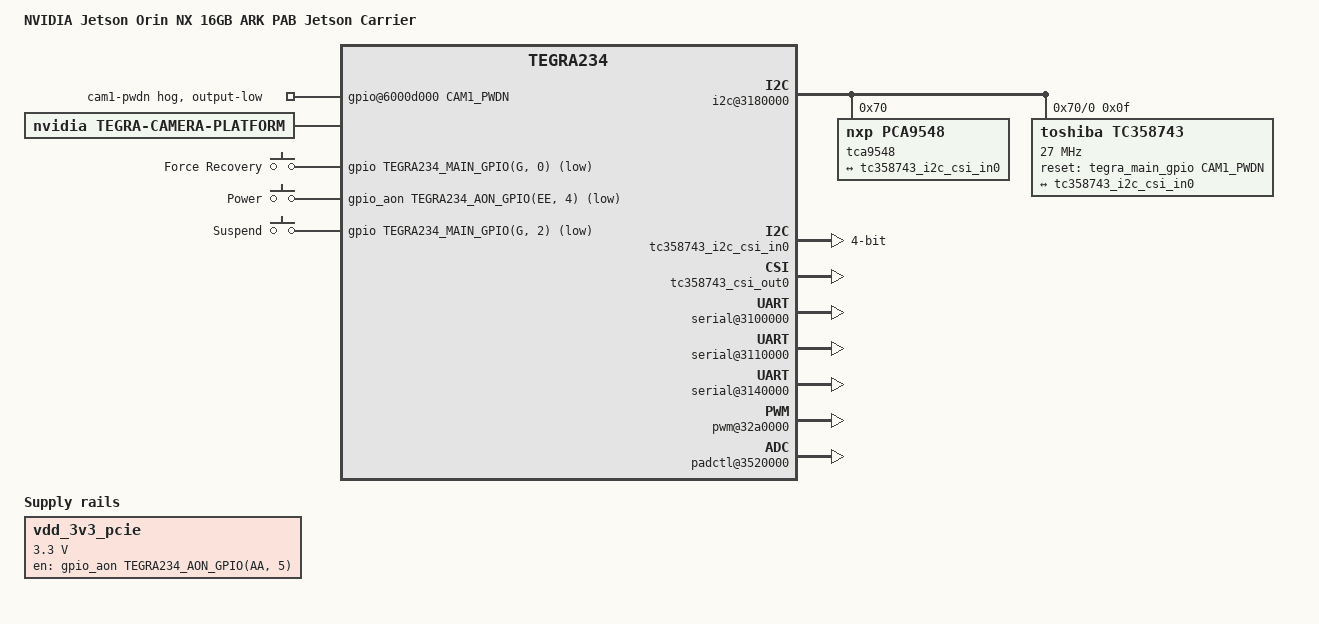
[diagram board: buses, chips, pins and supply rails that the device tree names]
// SPDX-License-Identifier: GPL-2.0
/dts-v1/;

#include <dt-bindings/input/linux-event-codes.h>
#include <dt-bindings/input/gpio-keys.h>

#include "tegra234-p3767-0000.dtsi"
#include "tegra234-p3768-0000.dtsi"

#define CAMERA_I2C_MUX_BUS(x) (0x1E + x)
#define CAM1_PWDN	TEGRA234_MAIN_GPIO(H, 6)

/ {
	compatible = "nvidia,p3768-0000+p3767-0000", "nvidia,p3767-0000", "nvidia,tegra234";
	model = "NVIDIA Jetson Orin NX 16GB ARK PAB Jetson Carrier";

	aliases {
		serial1 = &uarta;
		serial2 = &uarte;
		serial3 = &uartb;
	};

  i2c@3180000 {
    tca9548@70 {
      compatible = "nxp,pca9548";
      reg = <0x70>;
      skip_mux_detect;
      force_bus_start = <CAMERA_I2C_MUX_BUS(0)>;
      status = "okay";
      #address-cells = <1>;
      #size-cells = <0>;

      i2c@0 {
        reg = <0>;
        i2c-mux,deselect-on-exit;
        #address-cells = <1>;
        #size-cells = <0>;
      };
    };
  };

  gpio@6000d000 {
    camera-control-output-low {
      gpio-hog;
      output-low;
      gpios = <CAM1_PWDN 0>;
      label = "cam1-pwdn";
    };
  };

  tegra-capture-vi {
    num-channels = <1>;

    ports {
      #address-cells = <1>;
      #size-cells = <0>;

      port@0{
        status = "okay";
        reg = <0>;

        tc358743_vi_in0: endpoint {
          status = "okay";
          port-index = <0>;  /* MIPI O*/
          bus-width = <4>;
          remote-endpoint = <&tc358743_csi_out0>;
        };
      };
    };
  };

  host1x@13e00000 {
    nvcsi@15a00000 {
      num-channels = <1>;
      #address-cells = <1>;
      #size-cells = <0>;

      channel@0 {
        status = "okay";
        reg = <0>;

        ports {
          #address-cells = <1>;
          #size-cells = <0>;

          port@0 {
            status = "okay";
            reg = <0>;

            tc358743_i2c_csi_in0: endpoint@0 {
              status = "okay";
              port-index = <0>; /* MIPI 0 */
              bus-width = <4>;
              remote-endpoint = <&tc358743_i2c_out0>;
            };
          };

          port@1 {
            status = "okay";
            reg = <1>;

            tc358743_csi_out0: endpoint@1 {
              status = "okay";
              remote-endpoint = <&tc358743_vi_in0>;
            };
          };
        };
      };
    };
  };

  i2c@3180000 {  /* I2C_PM, "adapter" 6 */
    tca9548@70 {
      i2c@0 {
        status = "okay";
        #address-cells = <1>;
        #size-cells = <0>;

        tc358743@0f {
          status = "okay";
          compatible = "toshiba,tc358743";
          reg = <0x0f>; /* shifted by 2 */
          devnode = "video0";
          refclk_hz = <27000000>;  // refclk_hz -> regclk
          refclk = <27000000>;  // refclk_hz -> regclk

          reset-gpios = <&tegra_main_gpio CAM1_PWDN GPIO_ACTIVE_HIGH>;

          #clock-cells = <0>;
          clock-names = "refclk";
          clock-frequency = <27000000>;

          /* Physical dimensions of sensor */
          physical_w = "3.680";
          physical_h = "2.760";

          /* Sensor Model */
          sensor_model ="tc358743";
          use_sensor_mode_id = "true";

          num_lanes = "4";
          tegra_sinterface = "serial_e";
          phy_mode = "DPHY";
          discontinuous_clk = "no";

          ddc5v_delay = <2>;
          enable_hdcp = "false";
          lineinitcnt = <0xe80>;
          lptxtimecnt = <0x003>;
          tclk_headercnt = <0x1403>;
          tclk_trailcnt = <0x00>;
          ths_headercnt = <0x0103>;
          twakeup     = <0x4882>;
          tclk_postcnt = <0x008>;
          ths_trailcnt = <0x02>;
          hstxvregcnt = <0>;

          ports {
            #address-cells = <1>;
            #size-cells = <0>;

            port@0 {
              reg = <0>;
              tc358743_i2c_out0: endpoint {
                port-index = <0>; /* MIPI-4 CSI-E */
                bus-width = <4>;
                phy_mode = "DPHY";
                cil_settletime = "30";

                data-lanes = <1 2 3 4>;
                clock-lanes = <0>;
                clock-noncontinuous;
                link-frequencies = /bits/ 64 <297000000>; 
                /* link-frequencies = /bits/ 64 <148500000>; */
                remote-endpoint = <&tc358743_i2c_csi_in0>;
              };
            };
          };
        };
      };
    };
  };

  tegra-camera-platform {
    compatible = "nvidia, tegra-camera-platform";

  /**
    * Physical settings to calculate max ISO BW
    *
    * num_csi_lanes = <>;
    * Total number of CSI lanes when all cameras are active
    *
    * max_lane_speed = <>;
    * Max lane speed in Kbit/s
    *
    * min_bits_per_pixel = <>;
    * Min bits per pixel
    *
    * vi_peak_byte_per_pixel = <>;
    * Max byte per pixel for the VI ISO case
    *
    * vi_bw_margin_pct = <>;
    * Vi bandwidth margin in percentage
    *
    * max_pixel_rate = <>;
    * Max pixel rate in Kpixel/s for the ISP ISO case
    *
    * isp_peak_byte_per_pixel = <>;
    * Max byte per pixel for the ISP ISO case
    *
    * isp_bw_margin_pct = <>;
    * Isp bandwidth margin in percentage
    */
    num_csi_lanes = <4>;
    max_lane_speed = <2500000>;
    min_bits_per_pixel = <10>;
    vi_peak_byte_per_pixel = <2>;
    vi_bw_margin_pct = <25>;
    max_pixel_rate = <7500000>;
    isp_peak_byte_per_pixel = <5>;
    isp_bw_margin_pct = <25>;

  /**
    * The general guideline for naming badge_info contains 3 parts, and is as follows,
    * The first part is the camera_board_id for the module; if the module is in a FFD
    * platform, then use the platform name for this part.
    * The second part contains the position of the module, ex. rear or front.
    * The third part contains the last 6 characters of a part number which is found
    * in the module's specsheet from the vender.
    */
    modules {
      module0 {
        status = "okay";
        badge = "tc358743_top_i2c31";
        position = "front";
        orientation = "1";

        drivernode0 {
          status = "okay";
          /* Declare PCL support driver (classically known as guid)  */
          pcl_id = "v4l2_sensor";
          /* Driver's v4l2 device name */
          devname = "tc358743 30-000f"; //31-000f";
          /* Declare the device-tree hierarchy to driver instance */
          proc-device-tree = "/proc/device-tree/i2c@3180000/tca9548@70/i2c@0/tc358743@0f";
        };
      };
    };
  };

	bus@0 {
		serial@3100000 {
			compatible = "nvidia,tegra194-hsuart";
			reset-names = "serial";
			status = "okay";
		};

		serial@3110000 {
			compatible = "nvidia,tegra194-hsuart";
			reset-names = "serial";
			status = "okay";
		};

		serial@3140000 {
			compatible = "nvidia,tegra194-hsuart";
			reset-names = "serial";
			status = "okay";
		};

		pwm@32a0000 {
			assigned-clocks = <&bpmp TEGRA234_CLK_PWM3>;
			assigned-clock-parents = <&bpmp TEGRA234_CLK_PLLP_OUT0>;
			status = "okay";
		};

		hda@3510000 {
			nvidia,model = "NVIDIA Jetson Orin NX HDA";
			status = "okay";
		};

		padctl@3520000 {
			status = "okay";
		};
	};

	gpio-keys {
		compatible = "gpio-keys";

		key-force-recovery {
			label = "Force Recovery";
			gpios = <&gpio TEGRA234_MAIN_GPIO(G, 0) GPIO_ACTIVE_LOW>;
			linux,input-type = <EV_KEY>;
			linux,code = <BTN_1>;
		};

		key-power {
			label = "Power";
			gpios = <&gpio_aon TEGRA234_AON_GPIO(EE, 4) GPIO_ACTIVE_LOW>;
			linux,input-type = <EV_KEY>;
			linux,code = <KEY_POWER>;
			wakeup-event-action = <EV_ACT_ASSERTED>;
			wakeup-source;
		};

		key-suspend {
			label = "Suspend";
			gpios = <&gpio TEGRA234_MAIN_GPIO(G, 2) GPIO_ACTIVE_LOW>;
			linux,input-type = <EV_KEY>;
			linux,code = <KEY_SLEEP>;
		};
	};

	pwm-fan {
		cooling-levels = <0 88 187 255>;
	};

	vdd_3v3_pcie: regulator-vdd-3v3-pcie {
		compatible = "regulator-fixed";
		regulator-name = "VDD_3V3_PCIE";
		regulator-min-microvolt = <3300000>;
		regulator-max-microvolt = <3300000>;
		gpio = <&gpio_aon TEGRA234_AON_GPIO(AA, 5) GPIO_ACTIVE_HIGH>;
		enable-active-high;
	};

	thermal-zones {
		tj-thermal {
			cooling-maps {
				map-active-0 {
					cooling-device = <&fan 0 1>;
					trip = <&tj_trip_active0>;
				};

				map-active-1 {
					cooling-device = <&fan 1 2>;
					trip = <&tj_trip_active1>;
				};

				map-active-2 {
					cooling-device = <&fan 2 3>;
					trip = <&tj_trip_active2>;
				};
			};
		};
	};
};
